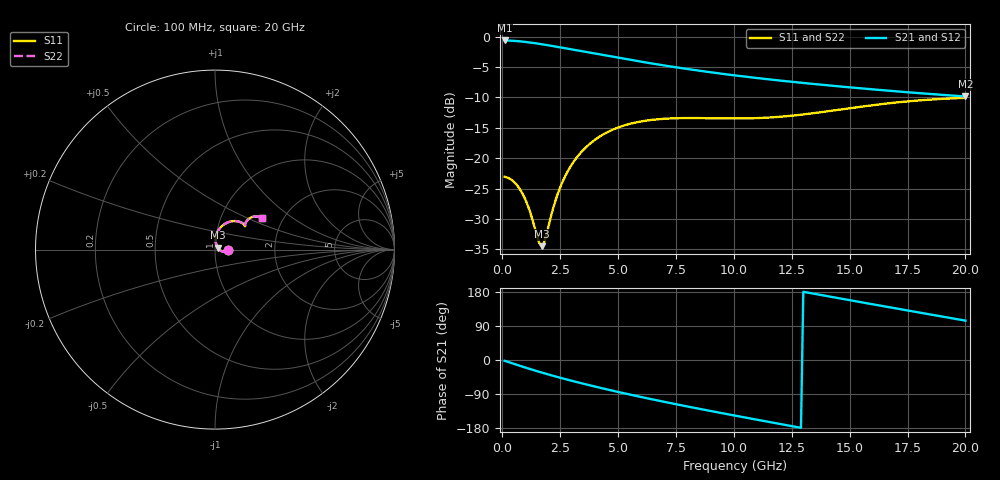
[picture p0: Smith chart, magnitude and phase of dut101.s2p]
! Created with skrf 1.9.0 (http://scikit-rf.org).
# GHz S RI R 50.0
!freq ReS11 ImS11 ReS21 ImS21 ReS12 ImS12 ReS22 ImS22
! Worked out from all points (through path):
!   200 points, 100 MHz to 20 GHz, reference 50 ohm
!   highest |S21| = -0.64 dB at 100 MHz (marker M1); lowest = -9.9 dB at 20 GHz (marker M2)
!   group delay of S21, straight-line fit = 33.9 ps
!   lowest |S11| = -34.5 dB at 1.7 GHz (marker M3), VSWR 1.04, Z = 51.6 + j1.09 ohm
!   |S11| at or under -10 dB: start of sweep to end of sweep
!   |S22| runs from -34.5 to -10.1 dB; largest |S21 - S12| = 1.9e-15
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0.1  0.0703 -0.00229  0.9285 -0.0335  0.9285 -0.0335  0.0703 -0.00229
0.5  0.063 -0.0108  0.9079 -0.1632  0.9079 -0.1632  0.063 -0.0108
0.9  0.0483 -0.0127  0.8631 -0.2826  0.8631 -0.2826  0.0483 -0.0127
1.2  0.0352 -0.00812  0.8172 -0.362  0.8172 -0.362  0.0352 -0.00812
1.6  0.0191 0.00585  0.7446 -0.4526  0.7446 -0.4526  0.0191 0.00585
1.7  0.0157 0.0105  0.725 -0.4725  0.725 -0.4725  0.0157 0.0105
1.8  0.0127 0.0156  0.705 -0.4914  0.705 -0.4914  0.0127 0.0156
2.3  0.00382 0.0449  0.6007 -0.57  0.6007 -0.57  0.00382 0.0449
2.6  0.00379 0.0638  0.5365 -0.6057  0.5365 -0.6057  0.00379 0.0638
3  0.00942 0.0881  0.451 -0.6415  0.451 -0.6415  0.00942 0.0881
3.5  0.0237 0.1146  0.3465 -0.6694  0.3465 -0.6694  0.0237 0.1146
4.1  0.0474 0.1382  0.2274 -0.6819  0.2274 -0.6819  0.0474 0.1382
4.9  0.0822 0.1552  0.0831 -0.6701  0.0831 -0.6701  0.0822 0.1552
6.8  0.1448 0.1515  -0.1811 -0.5577  -0.1811 -0.5577  0.1448 0.1515
8.4  0.1652 0.1356  -0.3214 -0.4182  -0.3214 -0.4182  0.1652 0.1356
10.1  0.1677 0.1298  -0.4025 -0.2577  -0.4025 -0.2577  0.1677 0.1298
11.7  0.1671 0.1383  -0.4268 -0.1103  -0.4268 -0.1103  0.1671 0.1383
13.4  0.1741 0.1561  -0.407 0.0319  -0.407 0.0319  0.1741 0.1561
15.1  0.1918 0.1738  -0.35 0.1501  -0.35 0.1501  0.1918 0.1738
16.7  0.2152 0.1835  -0.272 0.2335  -0.272 0.2335  0.2152 0.1835
18.3  0.2393 0.1837  -0.1803 0.2873  -0.1803 0.2873  0.2393 0.1837
20  0.2596 0.1752  -0.0774 0.3122  -0.0774 0.3122  0.2596 0.1752
